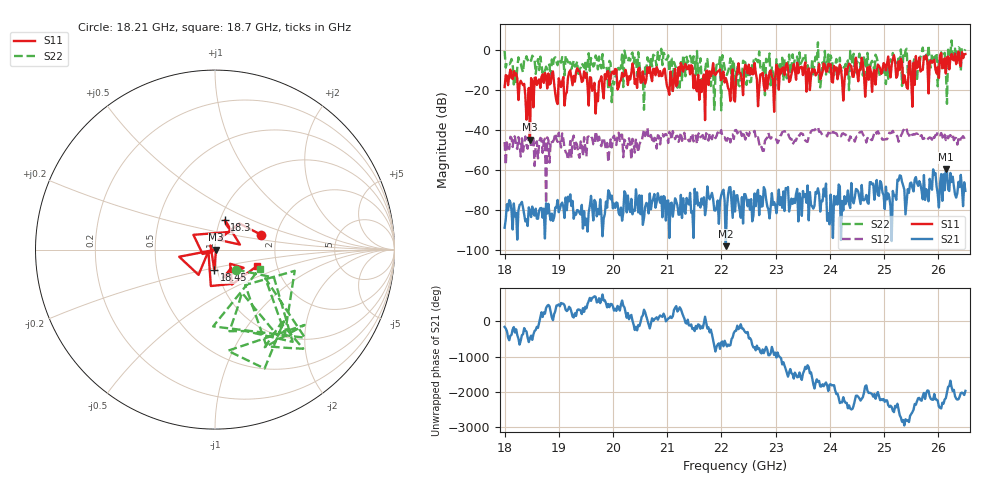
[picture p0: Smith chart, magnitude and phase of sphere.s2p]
!Keysight Technologies,N5242B,MY47200105,A.14.00.23
!Date: Friday, May 10, 2024 10:51:41
!Correction: S11(C  2-Port  )
!S21(C  2-Port  )
!S12(C  2-Port  )
!S22(C  2-Port  )
!S2P File: Measurement: :
# Hz S  RI  R 50
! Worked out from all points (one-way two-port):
!   401 points, 18 GHz to 26.5 GHz, reference 50 ohm
!   highest |S21| = -59.49 dB at 26.14 GHz (marker M1); lowest = -98.0 dB at 22.08 GHz (marker M2)
!   lowest |S11| = -44.6 dB at 18.47 GHz (marker M3), VSWR 1.01, Z = 50.6 - j0.0302 ohm
!   |S11| at or under -10 dB: 18.11 GHz to 19.21 GHz (1.101 GHz wide, 5.9 % of centre); 19.36 GHz to 20.03 GHz (678.5 MHz wide, 3.45 % of centre); 21.47 GHz to 21.83 GHz (362.6 MHz wide, 1.68 % of centre) (the widest 3 of 62)
!   |S22| runs from -30.0 to 5.0 dB; largest |S21 - S12| = 0.012
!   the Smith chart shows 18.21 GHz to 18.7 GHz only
!   S11 on the Smith chart (normalised r, x): 18.21 GHz: 1.65, +0.30; 18.3 GHz: 1.05, +0.36; 18.45 GHz: 0.97, -0.23; 18.7 GHz: 1.57, -0.31
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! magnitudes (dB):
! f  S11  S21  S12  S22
! 18 GHz  -18.3  -88.8  -45.9  -0.2
! 18.21 GHz  -11.4  -81.3  -48.1  -15.9
! 18.3 GHz  -15.2  -77.0  -53.1  -6.7
! 18.45 GHz  -18.8  -78.6  -43.7  -3.7
! 18.47 GHz  -44.6  -80.4  -41.3  -4.3
! 18.7 GHz  -12.0  -83.8  -51.3  -11.3
! 19.42 GHz  -15.8  -77.3  -45.4  -6.4
! 19.68 GHz  -31.6  -76.0  -40.5  -2.5
! 20.02 GHz  -11.8  -76.7  -42.7  -17.0
! 20.38 GHz  -9.6  -79.9  -46.5  -6.7
! 20.55 GHz  -10.5  -87.3  -42.5  -14.0
! 20.85 GHz  -12.9  -74.3  -42.8  -4.8
! 21.23 GHz  -12.4  -82.2  -43.7  -18.6
! 21.4 GHz  -7.4  -77.2  -45.5  -4.7
! 22.08 GHz  -13.8  -98.0  -45.0  -11.9
! 22.25 GHz  -25.6  -80.7  -40.0  -16.6
! 23.67 GHz  -9.2  -78.1  -40.0  -4.3
! 25.1 GHz  -9.2  -73.6  -41.1  -5.6
! 25.29 GHz  -9.6  -62.6  -44.6  -9.8
! 25.42 GHz  -18.3  -75.8  -39.5  0.9
! 26.14 GHz  -11.5  -59.5  -44.9  -8.8
! 26.5 GHz  -1.8  -70.3  -45.9  0.6
